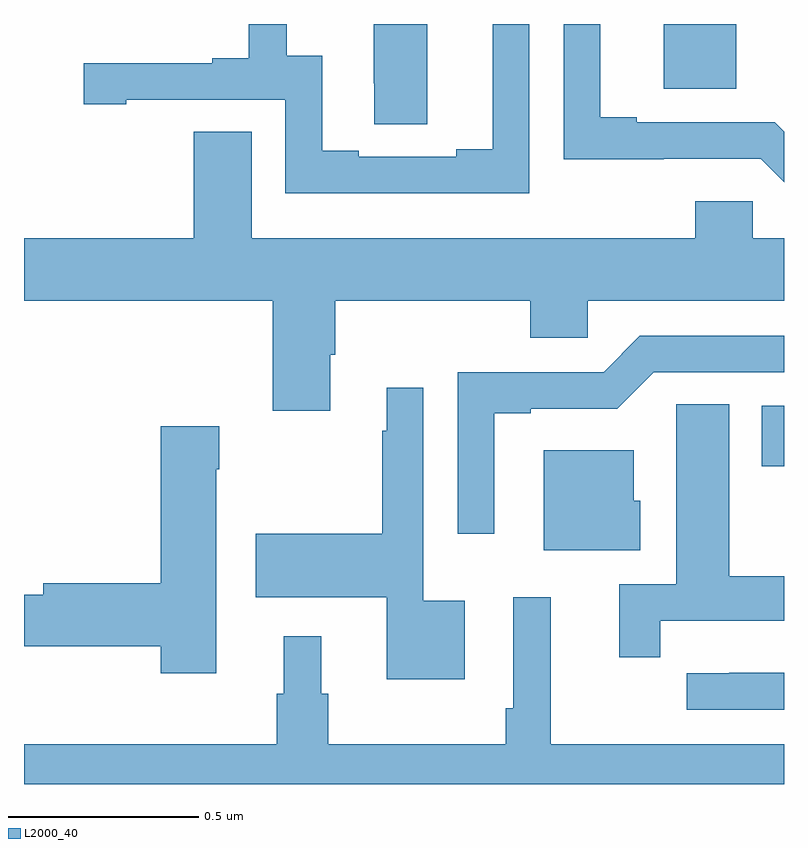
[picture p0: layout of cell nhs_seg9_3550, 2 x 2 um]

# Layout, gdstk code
import gdstk
lib = gdstk.Library(unit=1e-6, precision=1e-09)
def R(c, l, rs):  # rectangles x0, y0, x1, y1
    for r in rs: c.add(gdstk.rectangle(r[:2], r[2:], *l))
def P(c, l, *ps):  # polygons
    for p in ps: c.add(gdstk.Polygon(p, *l))
L2000_40 = (2000, 40)

nhs_seg9_3550 = lib.new_cell('nhs_seg9_3550')
R(nhs_seg9_3550, L2000_40, [(156.941,1177.336,157,1177.495), (156.683,1178.33,156.874,1178.5)])
P(nhs_seg9_3550, L2000_40, [(156.33,1178.5),(156.233,1178.5),(156.233,1178.171),(156.137,1178.171),(156.137,1178.151),(155.881,1178.151),(155.881,1178.166),(155.785,1178.166),(155.785,1178.417),(155.691,1178.417),(155.691,1178.5),(155.591,1178.5),(155.591,1178.41),(155.495,1178.41),(155.495,1178.397),(155.157,1178.397),(155.157,1178.289),(155.269,1178.289),(155.269,1178.301),(155.688,1178.301),(155.688,1178.055),(156.33,1178.055)],
  [(156.061,1178.5),(155.921,1178.5),(155.921,1178.344),(155.922,1178.344),(155.922,1178.236),(156.061,1178.236)],
  [(157,1178.216),(156.975,1178.241),(156.613,1178.241),(156.613,1178.254),(156.517,1178.254),(156.517,1178.5),(156.42,1178.5),(156.42,1178.144),(156.683,1178.144),(156.683,1178.145),(156.939,1178.145),(157,1178.084)],
  [(155.806,1177.63),(155.819,1177.63),(155.819,1177.772),(156.332,1177.772),(156.332,1177.674),(156.483,1177.674),(156.483,1177.772),(157,1177.772),(157,1177.936),(156.918,1177.936),(156.918,1178.034),(156.767,1178.034),(156.767,1177.936),(155.599,1177.936),(155.599,1178.216),(155.447,1178.216),(155.447,1177.936),(155,1177.936),(155,1177.772),(155.654,1177.772),(155.654,1177.482),(155.806,1177.482)],
  [(156.238,1177.476),(156.334,1177.476),(156.334,1177.488),(156.561,1177.488),(156.657,1177.584),(157,1177.584),(157,1177.68),(156.621,1177.68),(156.525,1177.584),(156.141,1177.584),(156.141,1177.158),(156.238,1177.158)],
  [(156.16,1176.982),(156.051,1176.982),(156.051,1177.543),(155.954,1177.543),(155.954,1177.43),(155.943,1177.43),(155.943,1177.158),(155.61,1177.158),(155.61,1176.992),(155.954,1176.992),(155.954,1176.776),(156.16,1176.776)],
  [(156.674,1176.93),(157,1176.93),(157,1177.047),(156.856,1177.047),(156.856,1177.499),(156.717,1177.499),(156.717,1177.388),(156.716,1177.388),(156.716,1177.026),(156.566,1177.026),(156.566,1176.834),(156.674,1176.834)],
  [(155.506,1177.328),(155.514,1177.328),(155.514,1177.441),(155.36,1177.441),(155.36,1177.028),(155.051,1177.028),(155.051,1176.998),(155,1176.998),(155,1176.863),(155.36,1176.863),(155.36,1176.792),(155.506,1176.792)],
  [(156.622,1177.245),(156.604,1177.245),(156.604,1177.378),(156.368,1177.378),(156.368,1177.115),(156.622,1177.115)],
  [(157,1176.604),(156.386,1176.604),(156.386,1176.991),(156.288,1176.991),(156.288,1176.7),(156.268,1176.7),(156.268,1176.604),(155.801,1176.604),(155.801,1176.738),(155.782,1176.738),(155.782,1176.889),(155.684,1176.889),(155.684,1176.738),(155.665,1176.738),(155.665,1176.604),(155,1176.604),(155,1176.5),(157,1176.5)],
  [(157,1176.793),(156.856,1176.793),(156.856,1176.792),(156.744,1176.792),(156.744,1176.696),(157,1176.696)])

lib.write_gds('nhs_seg9_3550.gds')
